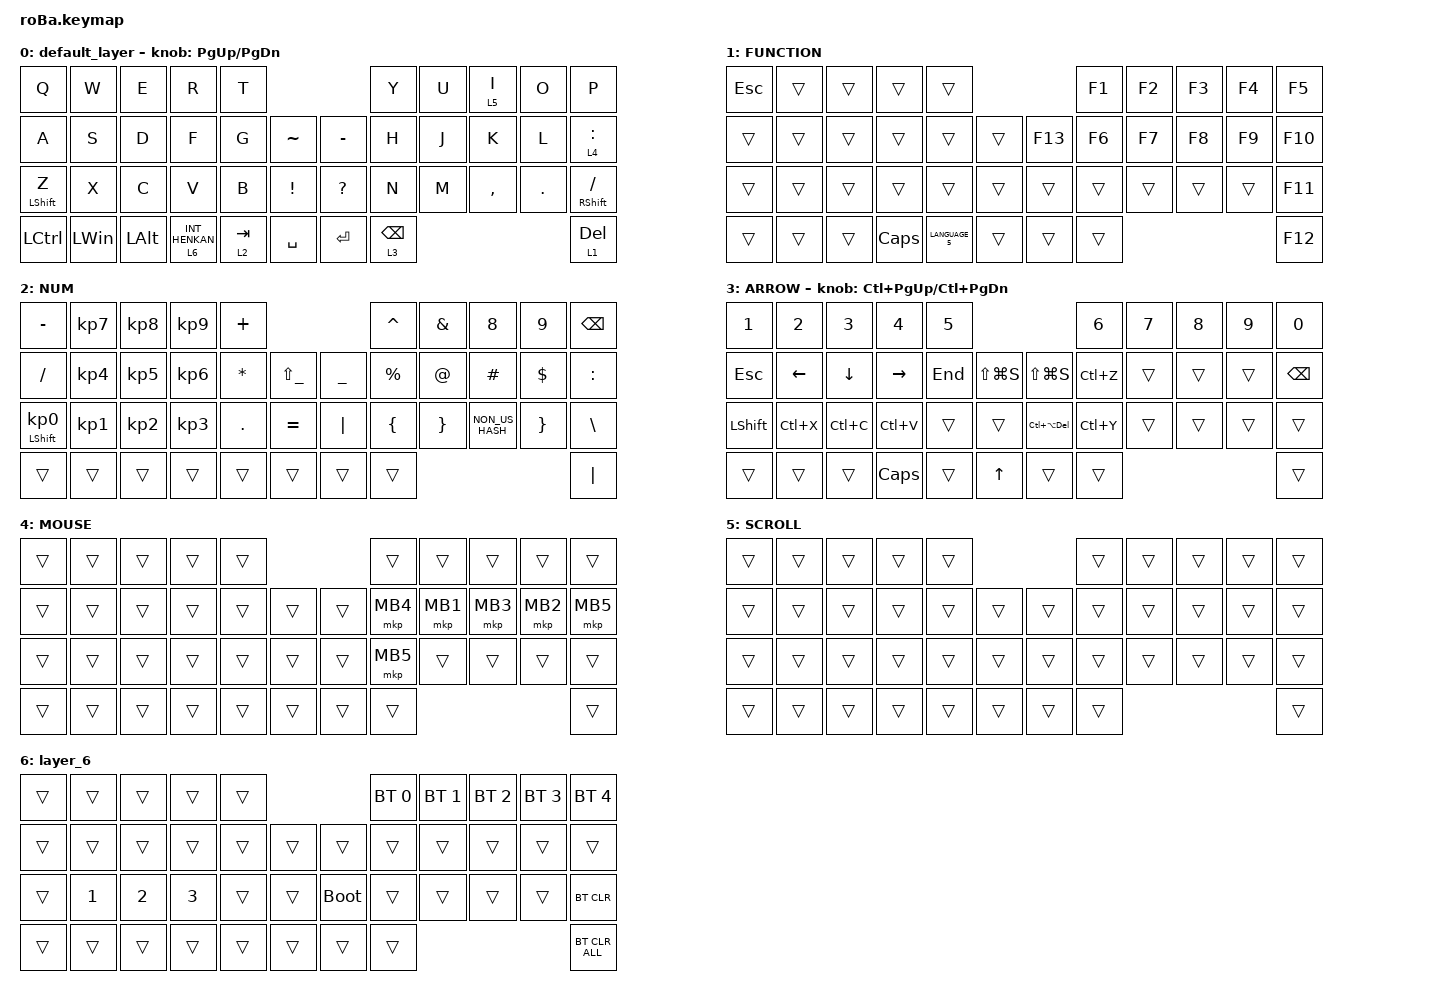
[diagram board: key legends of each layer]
#include <behaviors.dtsi>
#include <dt-bindings/zmk/bt.h>
#include <dt-bindings/zmk/keys.h>
#include <dt-bindings/zmk/pointing.h>

#define MOUSE 4
#define SCROLL 5
#define NUM 6

&mt {
    flavor = "balanced";
    quick-tap-ms = <0>;
};

/ {
    combos {
        compatible = "zmk,combos";

        tab {
            bindings = <&kp TAB>;
            key-positions = <11 12>;
        };

        shift_tab {
            bindings = <&kp LS(TAB)>;
            key-positions = <12 13>;
        };

        muhennkann {
            bindings = <&to_layer_0 INT_MUHENKAN>;
            key-positions = <11 10>;
        };

        double_quotation {
            bindings = <&kp DOUBLE_QUOTES>;
            key-positions = <20 21>;
        };

        eq {
            bindings = <&kp EQUAL>;
            key-positions = <24 25>;
        };

        leftclick {
            bindings = <&mkp MB1>;
            key-positions = <19 18>;
        };

        rightclick {
            bindings = <&mkp MB2>;
            key-positions = <19 20>;
        };
    };

    macros {
        to_layer_0: to_layer_0 {
            compatible = "zmk,behavior-macro-one-param";
            #binding-cells = <1>;
            bindings = <&to 0 &macro_param_1to1 &kp MACRO_PLACEHOLDER>;
            label = "TO_LAYER_0";
        };
    };

    behaviors {
        lt_to_layer_0: lt_to_layer_0 {
            compatible = "zmk,behavior-hold-tap";
            label = "LAYER_TAP_TO_0";
            bindings = <&mo>, <&to_layer_0>;

            #binding-cells = <2>;
            tapping-term-ms = <200>;
        };
    };

    keymap {
        compatible = "zmk,keymap";

        default_layer {
            bindings = <
&kp Q             &kp W         &kp E         &kp R                        &kp T                                         &kp Y            &kp U  &lt 5 I    &kp O    &kp P
&kp A             &kp S         &kp D         &kp F                        &kp G      &kp TILDE            &kp MINUS     &kp H            &kp J  &kp K      &kp L    &lt 4 COLON
&mt LEFT_SHIFT Z  &kp X         &kp C         &kp V                        &kp B      &kp EXCLAMATION      &kp QUESTION  &kp N            &kp M  &kp COMMA  &kp DOT  &mt RIGHT_SHIFT SLASH
&kp LCTRL         &kp LEFT_WIN  &kp LEFT_ALT  &lt_to_layer_0 6 INT_HENKAN  &lt 2 TAB  &kp SPACE            &kp ENTER     &lt 3 BACKSPACE                             &lt 1 DELETE
            >;

            sensor-bindings = <&inc_dec_kp PG_UP PAGE_DOWN>;
        };

        FUNCTION {
            bindings = <
&kp ESCAPE  &trans  &trans  &trans        &trans                               &kp F1  &kp F2  &kp F3  &kp F4  &kp F5
&trans      &trans  &trans  &trans        &trans          &trans      &kp F13  &kp F6  &kp F7  &kp F8  &kp F9  &kp F10
&trans      &trans  &trans  &trans        &trans          &trans      &trans   &trans  &trans  &trans  &trans  &kp F11
&trans      &trans  &trans  &kp CAPSLOCK  &kp LANGUAGE_5  &trans      &trans   &trans                          &kp F12
            >;
        };

        NUM {
            bindings = <
&kp MINUS                   &kp KP_NUMBER_7  &kp KP_NUMBER_8  &kp KP_NUMBER_9  &kp PLUS                                              &kp CARET       &kp AMPERSAND    &kp NUMBER_8     &kp NUMBER_9     &kp BACKSPACE
&kp SLASH                   &kp KP_NUMBER_4  &kp KP_NUMBER_5  &kp KP_NUMBER_6  &kp ASTERISK  &kp LS(UNDERSCORE)      &kp UNDERSCORE  &kp PERCENT     &kp AT_SIGN      &kp HASH         &kp DOLLAR       &kp COLON
&mt LEFT_SHIFT KP_NUMBER_0  &kp KP_NUMBER_1  &kp KP_NUMBER_2  &kp KP_NUMBER_3  &kp PERIOD    &kp EQUAL               &kp PIPE        &kp LEFT_BRACE  &kp RIGHT_BRACE  &kp NON_US_HASH  &kp RIGHT_BRACE  &kp BACKSLASH
&trans                      &trans           &trans           &trans           &trans        &trans                  &trans          &trans                                                             &kp PIPE
            >;
        };

        ARROW {
            bindings = <
&kp NUMBER_1    &kp NUMBER_2    &kp NUMBER_3    &kp NUMBER_4     &kp NUMBER_5                                         &kp NUMBER_6  &kp NUMBER_7  &kp NUMBER_8  &kp NUMBER_9  &kp NUMBER_0
&kp ESCAPE      &kp LEFT_ARROW  &kp DOWN_ARROW  &kp RIGHT_ARROW  &kp END       &kp LS(LG(S))      &kp LS(LG(S))       &kp LC(Z)     &trans        &trans        &trans        &kp BACKSPACE
&kp LEFT_SHIFT  &kp LC(X)       &kp LC(C)       &kp LC(V)        &trans        &trans             &kp LC(LA(DELETE))  &kp LC(Y)     &trans        &trans        &trans        &trans
&trans          &trans          &trans          &kp CAPSLOCK     &trans        &kp UP_ARROW       &trans              &trans                                                  &trans
            >;

            sensor-bindings = <&inc_dec_kp LC(PAGE_UP) LC(PAGE_DOWN)>;
        };

        MOUSE {
            bindings = <
&trans  &trans  &trans  &trans  &trans                      &trans    &trans    &trans    &trans    &trans
&trans  &trans  &trans  &trans  &trans  &trans      &trans  &mkp MB4  &mkp MB1  &mkp MB3  &mkp MB2  &mkp MB5
&trans  &trans  &trans  &trans  &trans  &trans      &trans  &mkp MB5  &trans    &trans    &trans    &trans
&trans  &trans  &trans  &trans  &trans  &trans      &trans  &trans                                  &trans
            >;
        };

        SCROLL {
            bindings = <
&trans  &trans  &trans  &trans  &trans                      &trans  &trans  &trans  &trans  &trans
&trans  &trans  &trans  &trans  &trans  &trans      &trans  &trans  &trans  &trans  &trans  &trans
&trans  &trans  &trans  &trans  &trans  &trans      &trans  &trans  &trans  &trans  &trans  &trans
&trans  &trans  &trans  &trans  &trans  &trans      &trans  &trans                          &trans
            >;
        };

        layer_6 {
            bindings = <
&trans  &trans        &trans        &trans        &trans                           &bt BT_SEL 0  &bt BT_SEL 1  &bt BT_SEL 2  &bt BT_SEL 3  &bt BT_SEL 4
&trans  &trans        &trans        &trans        &trans  &trans      &trans       &trans        &trans        &trans        &trans        &trans
&trans  &kp NUMBER_1  &kp NUMBER_2  &kp NUMBER_3  &trans  &trans      &bootloader  &trans        &trans        &trans        &trans        &bt BT_CLR
&trans  &trans        &trans        &trans        &trans  &trans      &trans       &trans                                                  &bt BT_CLR_ALL
            >;
        };
    };
};
